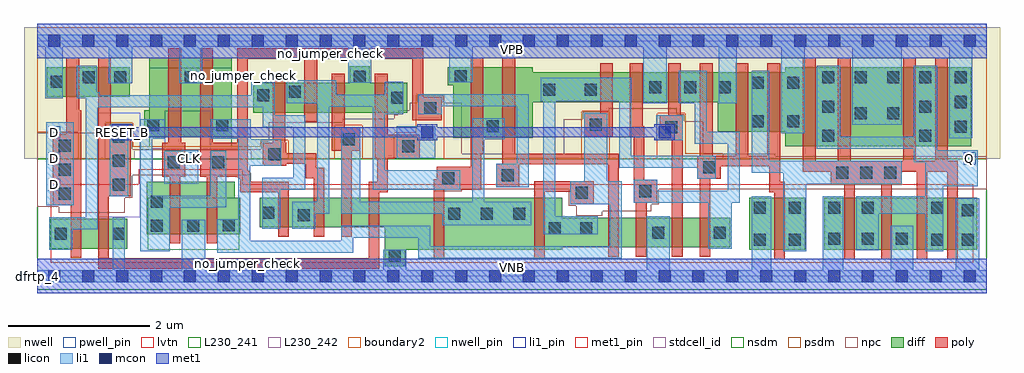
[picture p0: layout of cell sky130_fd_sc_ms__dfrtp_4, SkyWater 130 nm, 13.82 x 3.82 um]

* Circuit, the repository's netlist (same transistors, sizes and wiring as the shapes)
* Copyright 2020 The SkyWater PDK Authors
*
* Licensed under the Apache License, Version 2.0 (the "License");
* you may not use this file except in compliance with the License.
* You may obtain a copy of the License at
*
*     https://www.apache.org/licenses/LICENSE-2.0
*
* Unless required by applicable law or agreed to in writing, software
* distributed under the License is distributed on an "AS IS" BASIS,
* WITHOUT WARRANTIES OR CONDITIONS OF ANY KIND, either express or implied.
* See the License for the specific language governing permissions and
* limitations under the License.
*
* SPDX-License-Identifier: Apache-2.0

.SUBCKT sky130_fd_sc_ms__dfrtp_4 CLK D RESET_B VGND VNB VPB VPWR Q
*.PININFO CLK:I D:I RESET_B:I VGND:I VNB:I VPB:I VPWR:I Q:O
MI46 clkpos clkneg VGND VNB sky130_fd_pr__nfet_01v8_lvt m=1 w=0.74U l=0.15U mult=1
+ sa=0.265 sb=0.265 sd=0.28 area=0.063 perim=1.14
MI42 db clkneg M0 VNB sky130_fd_pr__nfet_01v8_lvt m=1 w=0.42U l=0.15U mult=1 sa=0.265
+ sb=0.265 sd=0.28 area=0.063 perim=1.14
MI656 net88 s0 net118 VNB sky130_fd_pr__nfet_01v8_lvt m=1 w=0.42U l=0.15U mult=1
+ sa=0.265 sb=0.265 sd=0.28 area=0.063 perim=1.14
MI657 net118 RESET_B VGND VNB sky130_fd_pr__nfet_01v8_lvt m=1 w=0.42U l=0.15U mult=1
+ sa=0.265 sb=0.265 sd=0.28 area=0.063 perim=1.14
MI33 net111 RESET_B VGND VNB sky130_fd_pr__nfet_01v8_lvt m=1 w=0.42U l=0.15U mult=1
+ sa=0.265 sb=0.265 sd=0.28 area=0.063 perim=1.14
MI4 M0 clkpos net103 VNB sky130_fd_pr__nfet_01v8_lvt m=1 w=0.42U l=0.15U mult=1
+ sa=0.265 sb=0.265 sd=0.28 area=0.063 perim=1.14
MI34 net103 M1 net111 VNB sky130_fd_pr__nfet_01v8_lvt m=1 w=0.42U l=0.15U mult=1
+ sa=0.265 sb=0.265 sd=0.28 area=0.063 perim=1.14
MI655 s0 clkneg net87 VNB sky130_fd_pr__nfet_01v8_lvt m=1 w=0.42U l=0.15U mult=1
+ sa=0.265 sb=0.265 sd=0.28 area=0.063 perim=1.14
MI652 net159 s0 VGND VNB sky130_fd_pr__nfet_01v8_lvt m=1 w=0.74U l=0.15U mult=1
+ sa=0.265 sb=0.265 sd=0.28 area=0.063 perim=1.14
MI653 Q net159 VGND VNB sky130_fd_pr__nfet_01v8_lvt m=4 w=0.74U l=0.15U mult=1
+ sa=0.265 sb=0.265 sd=0.28 area=0.063 perim=1.14
MI654 net87 net88 VGND VNB sky130_fd_pr__nfet_01v8_lvt m=1 w=0.42U l=0.15U mult=1
+ sa=0.265 sb=0.265 sd=0.28 area=0.063 perim=1.14
MI44 clkneg CLK VGND VNB sky130_fd_pr__nfet_01v8_lvt m=1 w=0.74U l=0.15U mult=1
+ sa=0.265 sb=0.265 sd=0.28 area=0.063 perim=1.14
MI647 M1 M0 VGND VNB sky130_fd_pr__nfet_01v8_lvt m=1 w=0.74U l=0.15U mult=1 sa=0.265
+ sb=0.265 sd=0.28 area=0.063 perim=1.14
MI39 db D net71 VNB sky130_fd_pr__nfet_01v8_lvt m=1 w=0.42U l=0.15U mult=1 sa=0.265
+ sb=0.265 sd=0.28 area=0.063 perim=1.14
MI38 net71 RESET_B VGND VNB sky130_fd_pr__nfet_01v8_lvt m=1 w=0.42U l=0.15U mult=1
+ sa=0.265 sb=0.265 sd=0.28 area=0.063 perim=1.14
MI649 M1 clkpos s0 VNB sky130_fd_pr__nfet_01v8_lvt m=1 w=0.74U l=0.15U mult=1 sa=0.265
+ sb=0.265 sd=0.28 area=0.063 perim=1.14
MI47 clkpos clkneg VPWR VPB sky130_fd_pr__pfet_01v8 m=1 w=1.12U l=0.18U mult=1
+ sa=0.265 sb=0.265 sd=0.28 area=0.063 perim=1.14
MI43 db clkpos M0 VPB sky130_fd_pr__pfet_01v8 m=1 w=0.42U l=0.18U mult=1 sa=0.265
+ sb=0.265 sd=0.28 area=0.063 perim=1.14
MI662 net187 net88 VPWR VPB sky130_fd_pr__pfet_01v8 m=1 w=0.42U l=0.18U mult=1
+ sa=0.265 sb=0.265 sd=0.28 area=0.063 perim=1.14
MI659 net88 RESET_B VPWR VPB sky130_fd_pr__pfet_01v8 m=1 w=0.42U l=0.18U mult=1
+ sa=0.265 sb=0.265 sd=0.28 area=0.063 perim=1.14
MI664 s0 clkpos net187 VPB sky130_fd_pr__pfet_01v8 m=1 w=0.42U l=0.18U mult=1 sa=0.265
+ sb=0.265 sd=0.28 area=0.063 perim=1.14
MI658 net88 s0 VPWR VPB sky130_fd_pr__pfet_01v8 m=1 w=0.42U l=0.18U mult=1 sa=0.265
+ sb=0.265 sd=0.28 area=0.063 perim=1.14
MI30 net166 M1 VPWR VPB sky130_fd_pr__pfet_01v8 m=1 w=0.42U l=0.18U mult=1 sa=0.265
+ sb=0.265 sd=0.28 area=0.063 perim=1.14
MI31 M0 clkneg net166 VPB sky130_fd_pr__pfet_01v8 m=1 w=0.42U l=0.18U mult=1 sa=0.265
+ sb=0.265 sd=0.28 area=0.063 perim=1.14
MI32 M0 RESET_B VPWR VPB sky130_fd_pr__pfet_01v8 m=1 w=0.42U l=0.18U mult=1 sa=0.265
+ sb=0.265 sd=0.28 area=0.063 perim=1.14
MI663 net159 s0 VPWR VPB sky130_fd_pr__pfet_01v8 m=2 w=0.84U l=0.18U mult=1 sa=0.265
+ sb=0.265 sd=0.28 area=0.063 perim=1.14
MI660 Q net159 VPWR VPB sky130_fd_pr__pfet_01v8 m=4 w=1.12U l=0.18U mult=1 sa=0.265
+ sb=0.265 sd=0.28 area=0.063 perim=1.14
MI45 clkneg CLK VPWR VPB sky130_fd_pr__pfet_01v8 m=1 w=1.12U l=0.18U mult=1 sa=0.265
+ sb=0.265 sd=0.28 area=0.063 perim=1.14
MI648 M1 M0 VPWR VPB sky130_fd_pr__pfet_01v8 m=1 w=1.0U l=0.18U mult=1 sa=0.265
+ sb=0.265 sd=0.28 area=0.063 perim=1.14
MI41 db RESET_B VPWR VPB sky130_fd_pr__pfet_01v8 m=1 w=0.42U l=0.18U mult=1 sa=0.265
+ sb=0.265 sd=0.28 area=0.063 perim=1.14
MI40 db D VPWR VPB sky130_fd_pr__pfet_01v8 m=1 w=0.42U l=0.18U mult=1 sa=0.265
+ sb=0.265 sd=0.28 area=0.063 perim=1.14
MI650 M1 clkneg s0 VPB sky130_fd_pr__pfet_01v8 m=1 w=1.0U l=0.18U mult=1 sa=0.265
+ sb=0.265 sd=0.28 area=0.063 perim=1.14
.ENDS sky130_fd_sc_ms__dfrtp_4

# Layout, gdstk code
import gdstk
lib = gdstk.Library(unit=1e-6, precision=1e-09)
def R(c, l, rs):  # rectangles x0, y0, x1, y1
    for r in rs: c.add(gdstk.rectangle(r[:2], r[2:], *l))
def A(c, l, x, y, w, h, nx, ny, dx, dy):  # array of equal rectangles
    R(c, l, [(x+i*dx, y+j*dy, x+i*dx+w, y+j*dy+h) for i in range(nx) for j in range(ny)])
def P(c, l, *ps):  # polygons
    for p in ps: c.add(gdstk.Polygon(p, *l))
nwell_pin = (64, 16)
nwell = (64, 20)
diff = (65, 20)
poly = (66, 20)
licon = (66, 44)
li1_pin = (67, 16)
li1 = (67, 20)
mcon = (67, 44)
met1_pin = (68, 16)
met1 = (68, 20)
stdcell_id = (81, 4)
nsdm = (93, 44)
psdm = (94, 20)
npc = (95, 20)
pwell_pin = (122, 16)
lvtn = (125, 44)
L230_241 = (230, 241)
L230_242 = (230, 242)
boundary2 = (236, 0)

sky130_fd_sc_ms__dfrtp_4 = lib.new_cell('sky130_fd_sc_ms__dfrtp_4')
R(sky130_fd_sc_ms__dfrtp_4, nwell_pin, [(0,3.085,13.44,3.33)])
P(sky130_fd_sc_ms__dfrtp_4, nwell, [(13.63,3.52),(-0.19,3.52),(-0.19,1.66),(1.375,1.66),(1.375,1.78),(3.02,1.78),(3.02,1.66),(13.63,1.66)])
R(sky130_fd_sc_ms__dfrtp_4, diff, [(10.08,0.37,10.87,1.11), (11.14,0.37,13.305,1.11), (0.185,0.39,1.275,0.81), (0.135,2.54,1.31,2.96)])
P(sky130_fd_sc_ms__dfrtp_4, diff, [(9.81,0.825),(7.435,0.825),(7.435,1.11),(3.145,1.11),(3.145,0.69),(4.915,0.69),(4.915,0.14),(5.205,0.14),(5.205,0.37),(7.435,0.37),(7.435,0.405),(9.81,0.405)],
  [(13.22,2.96),(10.59,2.96),(10.59,2.885),(7.015,2.885),(7.015,2.96),(5.81,2.96),(5.81,2.7),(5.885,2.7),(5.885,1.96),(7.015,1.96),(7.015,2.465),(9.635,2.465),(9.635,2.045),(10.59,2.045),(10.59,1.84),(13.22,1.84)],
  [(2.755,3.095),(1.58,3.095),(1.58,2.35),(1.515,2.35),(1.515,1.975),(2.755,1.975)],
  [(2.875,1.11),(2.795,1.11),(2.795,1.335),(1.545,1.335),(1.545,0.59),(1.8,0.59),(1.8,0.595),(2.1,0.595),(2.1,0.59),(2.32,0.59),(2.32,0.595),(2.875,0.595)],
  [(5.235,2.735),(4.705,2.735),(4.705,2.97),(4.425,2.97),(4.425,2.735),(3.055,2.735),(3.055,2.315),(5.235,2.315)])
P(sky130_fd_sc_ms__dfrtp_4, poly, [(13.03,1.63),(12.89,1.63),(12.89,3.09),(12.71,3.09),(12.71,1.63),(12.44,1.63),(12.44,3.09),(12.26,3.09),(12.26,1.63),(11.515,1.63),(11.515,3.09),(11.335,3.09),(11.335,1.63),(11.02,1.63),(11.02,3.09),(10.84,3.09),(10.84,1.48),(11.23,1.48),(11.23,1.3),(11.425,1.3),(11.425,0.24),(11.575,0.24),(11.575,1.3),(11.95,1.3),(11.95,0.24),(12.1,0.24),(12.1,1.3),(12.24,1.3),(12.24,1.48),(12.45,1.48),(12.45,0.24),(12.6,0.24),(12.6,1.48),(12.88,1.48),(12.88,0.24),(13.03,0.24)],
  [(9.14,2.275),(9.11,2.275),(9.11,3.015),(8.93,3.015),(8.93,2.275),(8.81,2.275),(8.81,1.945),(8.985,1.945),(8.985,0.275),(9.135,0.275),(9.135,1.945),(9.14,1.945)],
  [(0.62,2.35),(0.59,2.35),(0.59,3.09),(0.41,3.09),(0.41,2.01),(0.22,2.01),(0.22,1),(0.47,1),(0.47,0.26),(0.62,0.26)],
  [(2.095,1.885),(2.035,1.885),(2.035,3.225),(1.855,3.225),(1.855,1.885),(1.765,1.885),(1.765,1.41),(1.875,1.41),(1.875,0.465),(2.025,0.465),(2.025,1.41),(2.095,1.41)],
  [(10.585,1.335),(10.515,1.335),(10.515,3.015),(10.335,3.015),(10.335,1.705),(10.065,1.705),(10.065,3.015),(9.885,3.015),(9.885,1.705),(9.56,1.705),(9.56,3.015),(9.38,3.015),(9.38,1.705),(9.345,1.705),(9.345,1.375),(9.375,1.375),(9.375,0.275),(9.525,0.275),(9.525,1.375),(9.675,1.375),(9.675,1.555),(10.365,1.555),(10.365,1.185),(10.435,1.185),(10.435,0.24),(10.585,0.24)],
  [(8.775,1.365),(8.595,1.365),(8.595,2.125),(8.57,2.125),(8.57,3.015),(8.39,3.015),(8.39,1.975),(8.445,1.975),(8.445,1.035),(8.475,1.035),(8.475,0.275),(8.625,0.275),(8.625,1.035),(8.775,1.035)],
  [(4.06,1.535),(3.95,1.535),(3.95,1.74),(3.52,1.74),(3.52,1.89),(3.51,1.89),(3.51,2.865),(3.33,2.865),(3.33,1.89),(3.19,1.89),(3.19,1.585),(3.21,1.585),(3.21,1.56),(3.52,1.56),(3.52,1.59),(3.8,1.59),(3.8,1.385),(3.91,1.385),(3.91,0.56),(4.06,0.56)],
  [(4.57,2.105),(4.35,2.105),(4.35,2.865),(4.17,2.865),(4.17,1.775),(4.3,1.775),(4.3,0.56),(4.45,0.56),(4.45,1.775),(4.57,1.775)],
  [(5.415,2),(4.96,2),(4.96,2.865),(4.78,2.865),(4.78,1.67),(4.81,1.67),(4.81,1.335),(4.69,1.335),(4.69,0.255),(1.01,0.255),(1.01,1.13),(1.32,1.13),(1.32,2.14),(1.04,2.14),(1.04,3.09),(0.86,3.09),(0.86,0.105),(4.84,0.105),(4.84,1.185),(4.96,1.185),(4.96,1.67),(5.415,1.67)],
  [(8.235,1.735),(6.765,1.735),(6.765,3.09),(6.585,3.09),(6.585,1.59),(6.495,1.59),(6.495,1.26),(6.825,1.26),(6.825,1.585),(8.085,1.585),(8.085,0.275),(8.235,0.275)],
  [(5.725,2.54),(5.46,2.54),(5.46,3.225),(2.83,3.225),(2.83,1.885),(2.485,1.885),(2.485,3.225),(2.305,3.225),(2.305,1.41),(2.395,1.41),(2.395,0.465),(2.545,0.465),(2.545,1.41),(2.84,1.41),(2.84,1.395),(2.85,1.395),(2.85,1.39),(2.855,1.39),(2.855,1.38),(2.87,1.38),(2.87,1.185),(3.41,1.185),(3.41,0.56),(3.56,0.56),(3.56,1.335),(3.02,1.335),(3.02,1.46),(3,1.46),(3,1.495),(2.98,1.495),(2.98,3.075),(3.78,3.075),(3.78,2.185),(3.96,2.185),(3.96,3.075),(5.31,3.075),(5.31,2.21),(5.725,2.21)],
  [(6.315,3.09),(6.135,3.09),(6.135,1.55),(5.655,1.55),(5.655,1.37),(5.61,1.37),(5.61,0.24),(5.76,0.24),(5.76,1.22),(6.285,1.22),(6.285,1.73),(6.315,1.73)],
  [(7.875,1.345),(7.035,1.345),(7.035,0.24),(7.185,0.24),(7.185,1.195),(7.545,1.195),(7.545,1.015),(7.875,1.015)],
  [(8.15,3.015),(7.97,3.015),(7.97,2.305),(7.74,2.305),(7.74,1.975),(8.15,1.975)])
A(sky130_fd_sc_ms__dfrtp_4, licon, 0.3, 1.08, 0.17, 0.17, 1, 3, 0, 0.34)
A(sky130_fd_sc_ms__dfrtp_4, licon, 1.07, 1.21, 0.17, 0.17, 1, 3, 0, 0.34)
A(sky130_fd_sc_ms__dfrtp_4, licon, 11.31, 1.38, 0.17, 0.17, 3, 1, 0.34, 0)
A(sky130_fd_sc_ms__dfrtp_4, licon, 11.115, 1.9, 0.17, 0.17, 1, 3, 0, 0.415)
A(sky130_fd_sc_ms__dfrtp_4, licon, 12.49, 1.9, 0.17, 0.17, 1, 3, 0, 0.415)
A(sky130_fd_sc_ms__dfrtp_4, licon, 12.99, 2.03, 0.17, 0.17, 1, 3, 0, 0.35)
R(sky130_fd_sc_ms__dfrtp_4, licon, [(4.975,0.2,5.145,0.37), (10.14,0.43,10.31,0.6), (10.64,0.43,10.81,0.6), (12.655,0.43,12.825,0.6), (13.085,0.43,13.255,0.6), (11.2,0.445,11.37,0.615), (11.675,0.445,11.845,0.615), (12.155,0.445,12.325,0.615), (0.245,0.515,0.415,0.685), (1.065,0.515,1.235,0.685), (8.705,0.53,8.875,0.7), (9.58,0.53,9.75,0.7), (7.24,0.595,7.41,0.765), (7.685,0.595,7.855,0.765), (1.605,0.63,1.775,0.8), (2.125,0.63,2.295,0.8), (2.625,0.635,2.795,0.805), (3.685,0.775,3.855,0.945), (5.815,0.8,5.985,0.97), (6.275,0.8,6.445,0.97), (6.74,0.8,6.91,0.97), (3.185,0.815,3.355,0.985), (13.085,0.85,13.255,1.02), (10.14,0.88,10.31,1.05), (10.64,0.88,10.81,1.05), (11.2,0.88,11.37,1.05), (11.675,0.88,11.845,1.05), (12.655,0.88,12.825,1.05), (1.605,0.97,1.775,1.14), (7.625,1.095,7.795,1.265), (8.525,1.115,8.695,1.285), (5.735,1.3,5.905,1.47), (6.575,1.34,6.745,1.51), (9.425,1.455,9.595,1.625), (1.845,1.525,2.015,1.695), (2.475,1.525,2.645,1.695), (3.27,1.64,3.44,1.81), (5.165,1.75,5.335,1.92), (4.32,1.855,4.49,2.025), (8.89,2.025,9.06,2.195), (6.365,2.04,6.535,2.21), (1.555,2.05,1.725,2.22), (2.535,2.05,2.705,2.22), (7.82,2.055,7.99,2.225), (10.115,2.105,10.285,2.275), (10.615,2.105,10.785,2.275), (11.57,2.22,11.74,2.39), (12.035,2.22,12.205,2.39), (5.475,2.29,5.645,2.46), (5.01,2.44,5.18,2.61), (3.11,2.475,3.28,2.645), (3.56,2.525,3.73,2.695), (7.16,2.555,7.33,2.725), (7.75,2.555,7.92,2.725), (8.66,2.59,8.83,2.76), (9.16,2.59,9.33,2.76), (9.65,2.59,9.82,2.76), (10.115,2.655,10.285,2.825), (10.615,2.655,10.785,2.825), (0.19,2.665,0.36,2.835), (0.64,2.73,0.81,2.9), (1.09,2.73,1.26,2.9), (2.085,2.73,2.255,2.9), (11.57,2.73,11.74,2.9), (12.035,2.73,12.205,2.9), (4.48,2.74,4.65,2.91), (5.91,2.745,6.08,2.915)])
A(sky130_fd_sc_ms__dfrtp_4, li1_pin, 0.155, 1.21, 0.17, 0.17, 1, 3, 0, 0.37)
R(sky130_fd_sc_ms__dfrtp_4, li1_pin, [(2.075,1.58,2.245,1.75), (13.115,1.58,13.285,1.75)])
R(sky130_fd_sc_ms__dfrtp_4, li1, [(0.125,1,0.515,2.18), (1.025,1.13,1.285,2.14), (5.085,1.67,5.635,2.12), (8.765,1.92,9.14,2.275)])
P(sky130_fd_sc_ms__dfrtp_4, li1, [(8.275,1.345),(8.07,1.345),(8.07,2.305),(7.74,2.305),(7.74,1.345),(7.545,1.345),(7.545,1.015),(8.105,1.015),(8.105,0.425),(5.565,0.425),(5.565,0.71),(4.305,0.71),(4.305,0.5),(3.015,0.5),(3.015,1.56),(3.455,1.56),(3.455,1.935),(3.02,1.935),(3.02,2.22),(2.455,2.22),(2.455,1.945),(2.845,1.945),(2.845,0.805),(2.545,0.805),(2.545,0.33),(4.475,0.33),(4.475,0.54),(5.395,0.54),(5.395,0.255),(8.275,0.255)],
  [(13.44,3.415),(0,3.415),(0,3.245),(0.11,3.245),(0.11,2.52),(0.36,2.52),(0.36,3.245),(1.01,3.245),(1.01,2.73),(1.34,2.73),(1.34,3.245),(2.005,3.245),(2.005,2.73),(2.335,2.73),(2.335,3.245),(4.4,3.245),(4.4,2.74),(4.73,2.74),(4.73,3.245),(5.83,3.245),(5.83,2.745),(6.165,2.745),(6.165,3.245),(8.58,3.245),(8.58,2.445),(8.91,2.445),(8.91,3.245),(9.65,3.245),(9.65,2.445),(9.9,2.445),(9.9,3.245),(10.535,3.245),(10.535,2.025),(10.865,2.025),(10.865,3.245),(11.535,3.245),(11.535,2.14),(12.24,2.14),(12.24,3.245),(12.91,3.245),(12.91,1.95),(13.24,1.95),(13.24,3.245),(13.44,3.245)],
  [(2.275,1.78),(2.045,1.78),(2.045,1.775),(1.795,1.775),(1.795,1.31),(2.275,1.31)],
  [(12.24,1.63),(10.365,1.63),(10.365,2.905),(10.115,2.905),(10.115,1.46),(10.56,1.46),(10.56,0.35),(10.89,0.35),(10.89,1.3),(12.24,1.3)],
  [(13.315,1.78),(12.74,1.78),(12.74,2.98),(12.41,2.98),(12.41,1.97),(11.365,1.97),(11.365,2.98),(11.035,2.98),(11.035,1.8),(12.41,1.8),(12.41,1.61),(12.575,1.61),(12.575,1.13),(11.595,1.13),(11.595,0.365),(11.91,0.365),(11.91,0.88),(12.575,0.88),(12.575,0.35),(12.825,0.35),(12.825,1.27),(13.315,1.27)],
  [(2.675,1.775),(2.455,1.775),(2.455,1.55),(2.445,1.55),(2.445,1.14),(1.625,1.14),(1.625,1.945),(1.805,1.945),(1.805,2.22),(1.455,2.22),(1.455,0.35),(1.875,0.35),(1.875,0.97),(2.495,0.97),(2.495,0.975),(2.675,0.975)],
  [(6.99,1.05),(6.325,1.05),(6.325,1.94),(6.615,1.94),(6.615,2.235),(6.155,2.235),(6.155,1.05),(4.57,1.05),(4.57,2.105),(4.305,2.105),(4.305,0.88),(5.735,0.88),(5.735,0.72),(6.99,0.72)],
  [(3.795,2.275),(3.36,2.275),(3.36,2.755),(3.03,2.755),(3.03,2.56),(0.885,2.56),(0.885,2.605),(0.84,2.605),(0.84,2.98),(0.56,2.98),(0.56,2.52),(0.685,2.52),(0.685,0.83),(0.165,0.83),(0.165,0.37),(0.495,0.37),(0.495,0.66),(0.855,0.66),(0.855,2.39),(3.19,2.39),(3.19,2.105),(3.625,2.105),(3.625,1.39),(3.185,1.39),(3.185,0.67),(3.435,0.67),(3.435,1.22),(3.795,1.22)],
  [(13.44,0.085),(13.335,0.085),(13.335,1.1),(13.005,1.1),(13.005,0.085),(12.405,0.085),(12.405,0.71),(12.08,0.71),(12.08,0.085),(11.41,0.085),(11.41,1.13),(11.12,1.13),(11.12,0.085),(10.39,0.085),(10.39,1.13),(10.115,1.13),(10.115,0.085),(8.955,0.085),(8.955,0.845),(8.625,0.845),(8.625,0.085),(5.225,0.085),(5.225,0.37),(4.895,0.37),(4.895,0.085),(2.375,0.085),(2.375,0.8),(2.045,0.8),(2.045,0.085),(1.235,0.085),(1.235,0.83),(1.065,0.83),(1.065,0.085),(0,0.085),(0,-0.085),(13.44,-0.085)],
  [(9.945,2.045),(9.48,2.045),(9.48,2.905),(9.08,2.905),(9.08,2.445),(9.31,2.445),(9.31,1.875),(9.775,1.875),(9.775,1.205),(8.775,1.205),(8.775,1.365),(8.445,1.365),(8.445,1.035),(9.5,1.035),(9.5,0.385),(9.83,0.385),(9.83,1.035),(9.945,1.035)],
  [(9.605,1.705),(8.41,1.705),(8.41,2.805),(7.125,2.805),(7.125,2.475),(7.16,2.475),(7.16,0.595),(7.935,0.595),(7.935,0.845),(7.33,0.845),(7.33,2.475),(8.24,2.475),(8.24,1.535),(9.345,1.535),(9.345,1.375),(9.605,1.375)],
  [(5.985,1.5),(4.915,1.5),(4.915,2.295),(5.18,2.295),(5.18,2.755),(4.915,2.755),(4.915,2.57),(4.23,2.57),(4.23,2.775),(3.53,2.775),(3.53,2.445),(3.965,2.445),(3.965,1.05),(3.605,1.05),(3.605,0.67),(3.935,0.67),(3.935,0.88),(4.135,0.88),(4.135,2.4),(4.745,2.4),(4.745,1.22),(5.985,1.22)],
  [(6.955,2.575),(5.395,2.575),(5.395,2.29),(5.725,2.29),(5.725,2.405),(6.785,2.405),(6.785,1.59),(6.495,1.59),(6.495,1.26),(6.955,1.26)])
A(sky130_fd_sc_ms__dfrtp_4, mcon, 0.155, -0.085, 0.17, 0.17, 28, 2, 0.48, 3.33)
R(sky130_fd_sc_ms__dfrtp_4, mcon, [(1.115,1.95,1.285,2.12), (5.435,1.95,5.605,2.12), (8.795,1.95,8.965,2.12)])
R(sky130_fd_sc_ms__dfrtp_4, met1_pin, [(0,0,13.44,0.245), (1.115,1.95,1.285,2.12), (0,3.085,13.44,3.33)])
R(sky130_fd_sc_ms__dfrtp_4, met1, [(0,-0.245,13.44,0.245), (0,3.085,13.44,3.575)])
P(sky130_fd_sc_ms__dfrtp_4, met1, [(9.025,2.15),(8.735,2.15),(8.735,2.105),(5.665,2.105),(5.665,2.15),(5.375,2.15),(5.375,2.105),(1.345,2.105),(1.345,2.15),(1.055,2.15),(1.055,1.92),(1.345,1.92),(1.345,1.965),(5.375,1.965),(5.375,1.92),(5.665,1.92),(5.665,1.965),(8.735,1.965),(8.735,1.92),(9.025,1.92)])
R(sky130_fd_sc_ms__dfrtp_4, stdcell_id, [(0,0,13.44,3.33)])
R(sky130_fd_sc_ms__dfrtp_4, nsdm, [(0,-0.19,13.44,1.66)])
P(sky130_fd_sc_ms__dfrtp_4, psdm, [(13.44,3.52),(0,3.52),(0,2.04),(0.58,2.04),(0.58,1.66),(0.96,1.66),(0.96,2.17),(1.35,2.17),(1.35,1.83),(3.16,1.83),(3.16,1.92),(3.55,1.92),(3.55,1.66),(4.21,1.66),(4.21,2.135),(4.6,2.135),(4.6,1.66),(5.055,1.66),(5.055,2.03),(5.365,2.03),(5.365,2.57),(5.755,2.57),(5.755,1.66),(7.71,1.66),(7.71,2.335),(8.1,2.335),(8.1,1.66),(8.78,1.66),(8.78,2.305),(9.17,2.305),(9.17,1.735),(9.705,1.735),(9.705,1.66),(13.44,1.66)])
P(sky130_fd_sc_ms__dfrtp_4, npc, [(13.44,1.7),(10.45,1.7),(10.45,1.73),(9.425,1.73),(9.425,2.19),(9.16,2.19),(9.16,2.295),(9.055,2.295),(9.055,2.375),(8.09,2.375),(8.09,2.325),(7.72,2.325),(7.72,2.22),(7.455,2.22),(7.455,1.73),(6.01,1.73),(6.01,2.455),(5.745,2.455),(5.745,2.56),(5.375,2.56),(5.375,2.455),(5.27,2.455),(5.27,2.35),(5.11,2.35),(5.11,2.285),(5.05,2.285),(5.05,2.225),(4.325,2.225),(4.325,2.175),(3.275,2.175),(3.275,1.91),(3.17,1.91),(3.17,1.795),(1.34,1.795),(1.34,2.16),(0.97,2.16),(0.97,2.03),(0,2.03),(0,0.98),(0.305,0.98),(0.305,0.9),(1.235,0.9),(1.235,1.11),(1.34,1.11),(1.34,1.425),(3.01,1.425),(3.01,1.23),(5.635,1.23),(5.635,1.2),(6.005,1.2),(6.005,1.23),(7.525,1.23),(7.525,0.995),(7.63,0.995),(7.63,0.855),(7.995,0.855),(7.995,0.915),(8.69,0.915),(8.69,1.015),(8.795,1.015),(8.795,1.23),(13.44,1.23)])
R(sky130_fd_sc_ms__dfrtp_4, pwell_pin, [(0,0,13.44,0.245)])
P(sky130_fd_sc_ms__dfrtp_4, lvtn, [(13.25,1.3),(2.91,1.3),(2.91,1.515),(1.435,1.515),(1.435,1.3),(0.19,1.3),(0.19,0.19),(13.25,0.19)])
R(sky130_fd_sc_ms__dfrtp_4, L230_241, [(1.565,0.37,2.855,1.11), (1.025,1.13,1.285,2.14), (1.58,1.83,2.755,2.95)])
P(sky130_fd_sc_ms__dfrtp_4, L230_241, [(2.275,1.78),(2.045,1.78),(2.045,1.64),(1.795,1.64),(1.795,1.31),(2.275,1.31)])
R(sky130_fd_sc_ms__dfrtp_4, L230_242, [(0.855,0.83,1.455,2.31)])
P(sky130_fd_sc_ms__dfrtp_4, L230_242, [(4.84,0.56),(4.69,0.56),(4.69,0.255),(1.01,0.255),(1.01,0.26),(0.86,0.26),(0.86,0.105),(4.84,0.105)],
  [(2.455,2.34),(1.805,2.34),(1.805,1.81),(1.625,1.81),(1.625,1.14),(2.445,1.14),(2.445,1.55),(2.455,1.55)])
R(sky130_fd_sc_ms__dfrtp_4, boundary2, [(0,0,13.44,3.33)])
sky130_fd_sc_ms__dfrtp_4.add(gdstk.Label('VNB', (6.72,0.123), layer=64, texttype=59))
sky130_fd_sc_ms__dfrtp_4.add(gdstk.Label('VPB', (6.72,3.208), layer=64, texttype=5))
sky130_fd_sc_ms__dfrtp_4.add(gdstk.Label('dfrtp_4', (0,0), layer=83, texttype=44))
sky130_fd_sc_ms__dfrtp_4.add(gdstk.Label('no_jumper_check', (4.15,3.15), layer=83, texttype=44))
sky130_fd_sc_ms__dfrtp_4.add(gdstk.Label('no_jumper_check', (2.97,0.18), layer=83, texttype=44))
sky130_fd_sc_ms__dfrtp_4.add(gdstk.Label('no_jumper_check', (2.915,2.835), layer=83, texttype=44))
sky130_fd_sc_ms__dfrtp_4.add(gdstk.Label('RESET_B', (1.2,2.035), layer=68, texttype=5))
sky130_fd_sc_ms__dfrtp_4.add(gdstk.Label('VPWR', (6.72,3.208), layer=68, texttype=5))
sky130_fd_sc_ms__dfrtp_4.add(gdstk.Label('VGND', (6.72,0.123), layer=68, texttype=5))
sky130_fd_sc_ms__dfrtp_4.add(gdstk.Label('D', (0.24,1.295), layer=67, texttype=5))
sky130_fd_sc_ms__dfrtp_4.add(gdstk.Label('D', (0.24,1.665), layer=67, texttype=5))
sky130_fd_sc_ms__dfrtp_4.add(gdstk.Label('D', (0.24,2.035), layer=67, texttype=5))
sky130_fd_sc_ms__dfrtp_4.add(gdstk.Label('CLK', (2.16,1.665), layer=67, texttype=5))
sky130_fd_sc_ms__dfrtp_4.add(gdstk.Label('Q', (13.2,1.665), layer=67, texttype=5))

lib.write_gds('sky130_fd_sc_ms__dfrtp_4.gds')
